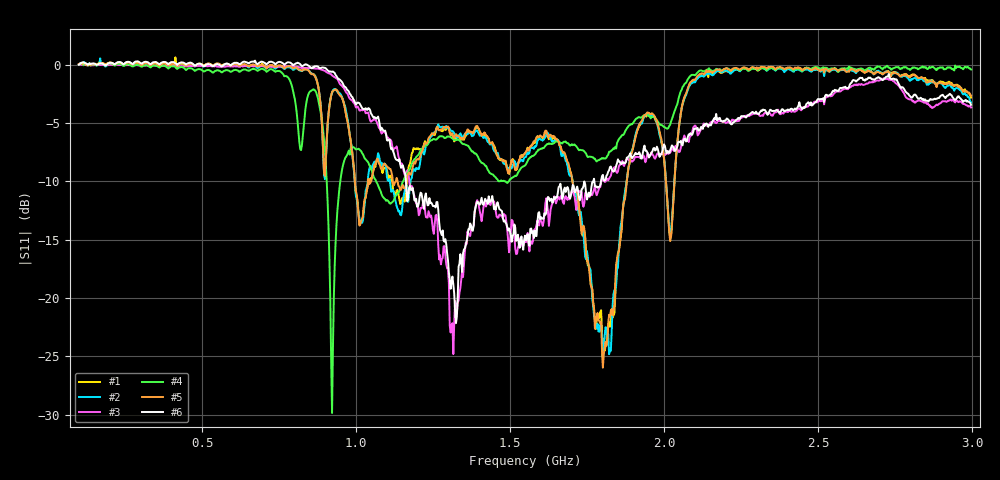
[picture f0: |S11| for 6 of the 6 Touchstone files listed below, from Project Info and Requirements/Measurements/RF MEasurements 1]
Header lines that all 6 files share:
# HZ S RI R 50
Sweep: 100 MHz to 2.997 GHz
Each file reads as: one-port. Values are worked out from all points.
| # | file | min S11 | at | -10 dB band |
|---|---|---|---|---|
| 1 | anotherRFandMatchingNetworkMeasurements.s1p | -25.0 dB | 1.801 GHz | 175.7 MHz wide |
| 2 | antenna with matching network.s1p | -25.3 dB | 1.801 GHz | 175.5 MHz wide |
| 3 | antennaplustwoinchcoaxial.s1p | -24.8 dB | 1.316 GHz | 623.4 MHz wide |
| 4 | justfilerboardforgottoput50ohmtermination.s1p | -29.9 dB | 922 MHz | 87.37 MHz wide |
| 5 | newantennanadrfboard.s1p | -26.0 dB | 1.801 GHz | 176.6 MHz wide |
| 6 | remeasuringantenna.s1p | -22.2 dB | 1.324 GHz | 608.2 MHz wide |
